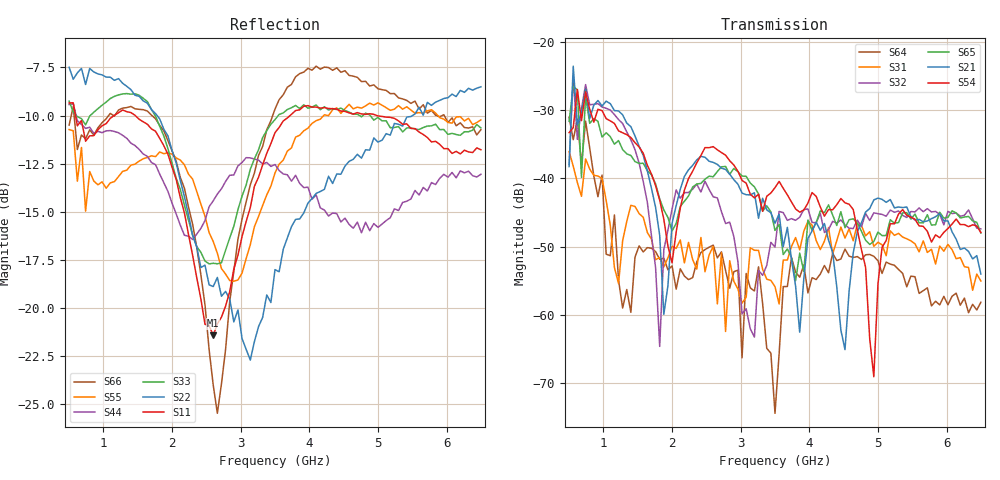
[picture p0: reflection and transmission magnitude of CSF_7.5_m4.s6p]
!Keysight Technologies,M9804A,MY58100912,A.14.10.03
!Date: Thursday, April 27, 2023 10:28:33
!Correction: S11(C  6-Port  )
!S12(C  6-Port  )
!S13(C  6-Port  )
!S14(C  6-Port  )
!S15(C  6-Port  )
!S16(C  6-Port  )
!S21(C  6-Port  )
!S22(C  6-Port  )
!S23(C  6-Port  )
!S24(C  6-Port  )
!S25(C  6-Port  )
!S26(C  6-Port  )
!S31(C  6-Port  )
!S32(C  6-Port  )
!S33(C  6-Port  )
!S34(C  6-Port  )
!S35(C  6-Port  )
!S36(C  6-Port  )
!S41(C  6-Port  )
!S42(C  6-Port  )
!S43(C  6-Port  )
!S44(C  6-Port  )
!S45(C  6-Port  )
!S46(C  6-Port  )
!S51(C  6-Port  )
!S52(C  6-Port  )
!S53(C  6-Port  )
!S54(C  6-Port  )
!S55(C  6-Port  )
!S56(C  6-Port  )
!S61(C  6-Port  )
!S62(C  6-Port  )
!S63(C  6-Port  )
!S64(C  6-Port  )
!S65(C  6-Port  )
!S66(C  6-Port  )
!S6P File: Measurement: :
# Hz S  RI  R 50
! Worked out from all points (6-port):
!   101 points, 500 MHz to 6.5 GHz, reference 50 ohm
!   strongest paths, dB at 500 MHz, 2 GHz, 3.5 GHz, 5 GHz, 6.5 GHz:
!     S54: -33.3, -52.4, -41.4, -55.5, -48.0
!     S21: -38.3, -46.6, -46.6, -42.9, -54.0
!     S65: -31.7, -47.7, -47.6, -47.9, -48.0
!     S32: -38.0, -44.5, -50.1, -45.2, -47.4
!     S31: -36.1, -50.0, -55.9, -49.4, -55.0
!     S64: -31.1, -52.8, -74.4, -52.1, -58.2
!   lowest |S11| = -21.4 dB at 2.6 GHz (marker M1), VSWR 1.19, Z = 42.5 + j2.31 ohm
!   |S11| at or under -10 dB: 593.4 MHz to 1.152 GHz (558.8 MHz wide, 64 % of centre); 1.465 GHz to 3.719 GHz (2.254 GHz wide, 86.9 % of centre); 4.988 GHz to end of sweep
